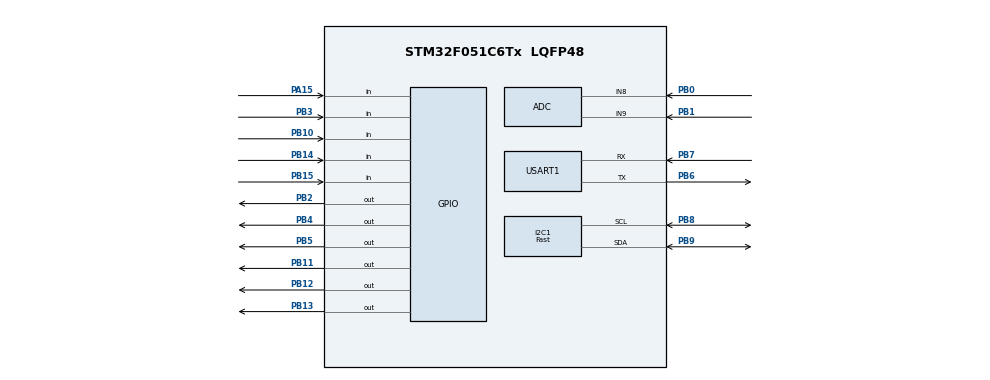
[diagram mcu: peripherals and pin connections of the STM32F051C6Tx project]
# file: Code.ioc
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ADC.ClockPrescaler=ADC_CLOCK_ASYNC_DIV1
ADC.DiscontinuousConvMode=ENABLE
ADC.EOCSelection=ADC_EOC_SEQ_CONV
ADC.LowPowerAutoWait=ENABLE
ADC.Overrun=ADC_OVR_DATA_OVERWRITTEN
I2C1.I2C_Fall_Time=50
I2C1.I2C_Rise_Time=50
I2C1.I2C_Speed_Mode=I2C_Fast
I2C1.Timing=0x0010020A
Mcu.Family=STM32F0
Mcu.Name=STM32F051C6Tx
Mcu.Package=LQFP48
NVIC.TIM6_DAC_IRQn=true\:0\:0\:false\:false\:true\:true\:true\:true
PA13.Mode=Serial_Wire
PA13.Signal=SYS_SWDIO
PA14.Mode=Serial_Wire
PA14.Signal=SYS_SWCLK
PA15.GPIO_PuPd=GPIO_PULLUP
PA15.Signal=GPIO_Input
PB0.Mode=IN8
PB0.Signal=ADC_IN8
PB1.Mode=IN9
PB1.Signal=ADC_IN9
PB10.Signal=GPIO_Input
PB11.Signal=GPIO_Output
PB12.Signal=GPIO_Output
PB13.Signal=GPIO_Output
PB14.Signal=GPIO_Input
PB15.GPIO_PuPd=GPIO_PULLUP
PB15.Signal=GPIO_Input
PB2.Signal=GPIO_Output
PB3.GPIO_PuPd=GPIO_PULLUP
PB3.Signal=GPIO_Input
PB4.Signal=GPIO_Output
PB5.Signal=GPIO_Output
PB6.Mode=Asynchronous
PB6.Signal=USART1_TX
PB7.Mode=Asynchronous
PB7.Signal=USART1_RX
PB8.Mode=I2C
PB8.Signal=I2C1_SCL
PB9.Mode=I2C
PB9.Signal=I2C1_SDA
PF0-OSC_IN.Mode=HSE-External-Oscillator
PF0-OSC_IN.Signal=RCC_OSC_IN
PF1-OSC_OUT.Mode=HSE-External-Oscillator
PF1-OSC_OUT.Signal=RCC_OSC_OUT
ProjectManager.HeapSize=0x200
ProjectManager.StackSize=0x400
ProjectManager.TargetToolchain=STM32CubeIDE
RCC.APB1Freq_Value=8000000
RCC.APB1TimFreq_Value=8000000
RCC.I2c1ClockSelection=RCC_I2C1CLKSOURCE_SYSCLK
RCC.PLLSourceVirtual=RCC_PLLSOURCE_HSE
RCC.RTCClockSelection=RCC_RTCCLKSOURCE_HSE_DIV32
RCC.SYSCLKSource=RCC_SYSCLKSOURCE_HSE
RCC.Usart1ClockSelection=RCC_USART1CLKSOURCE_SYSCLK
RTC.AsynchPrediv=124
RTC.Date=17
RTC.Format=RTC_FORMAT_BCD
RTC.Hours=16
RTC.Minutes=35
RTC.Month=RTC_MONTH_MAY
RTC.Seconds=35
RTC.SynchPrediv=1999
RTC.WeekDay=RTC_WEEKDAY_WEDNESDAY
RTC.Year=23
TIM6.Period=1000-1
TIM6.Prescaler=8000-1
USART1.Parity=PARITY_EVEN
USART1.VirtualMode-Asynchronous=VM_ASYNC
USART1.WordLength=WORDLENGTH_9B
VP_RTC_VS_RTC_Activate.Mode=RTC_Enabled
VP_RTC_VS_RTC_Calendar.Mode=RTC_Calendar
VP_TIM6_VS_ClockSourceINT.Mode=Enable_Timer
board=custom

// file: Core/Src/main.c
/* USER CODE BEGIN Header */
/**
  ******************************************************************************
  * @file           : main.c
  * @brief          : Main program body
  ******************************************************************************
  * @attention
  *
  * Copyright (c) 2023 STMicroelectronics.
  * All rights reserved.
  *
  * This software is licensed under terms that can be found in the LICENSE file
  * in the root directory of this software component.
  * If no LICENSE file comes with this software, it is provided AS-IS.
  *
  ******************************************************************************
  */
/* USER CODE END Header */
#include "main.h"

/* USER CODE BEGIN PD */
#define DATA_THERMISTOR (0)
#define DATA_POTENTIOMETER (1)
#define DATA_LIGHT_ALL (2)
#define DATA_LIGHT_IR (3)
#define DATA_TEMPERATURE (4)
#define DATA_HUMIDITY (5)

#define MODE_STANDBY (0)
#define MODE_RECORD_DATA (1)
#define MODE_READ_DATA (2)
#define MODE_LIVE_DATA (3)
#define MODE_SET_SAMPLE_TIME (4)

#define UTF_N (0x4E)
#define UTF_Y (0x59)
#define UTF_SPACE (0x20)
#define UTF_RETURN (0xD)

//*LIGHT SENSOR */
//Slave addresses
#define LIGHT_ADDR (0x29 << 1)

//Control
#define LIGHT_CONTR (0x80)
#define LIGHT_CONTR_ACTIVE (0x1)

#define LIGHT_MEAS_RATE (0x85)
#define LIGHT_MEAS_RATE_100ms_50ms (0x00)

#define LIGHT_INTERRUPT (0x8F)
#define LIGHT_INTERRUPT_INTERRUPT_ON_MEASURE (0b0001010)

#define LIGHT_STATUS (0x8C)
#define LIGHT_STATUS_NEW_DATA (0x04)

//Data
#define LIGHT_DATA_1_L (0x88)
#define LIGHT_DATA_1_H (0x89)
#define LIGHT_DATA_0_L (0x8A)
#define LIGHT_DATA_0_H (0x8B)
//*LIGHT SENSOR END */

//*TEMPERATURE HUMIDITY SENSOR*/
//Slave address
#define TH_ADDR (0x70 << 1)

//Control
#define TH_SLEEP (0xB098)
#define TH_WAKE (0x3517)
#define TH_READ_DATA (0x7866)

//Data
#define TH_DATA_TEMP_H (0)
#define TH_DATA_TEMP_L (1)
#define TH_DATA_HUM_H (3)
#define TH_DATA_HUM_L (4)

//*TEMPERATURE HUMIDITY SENSOR END*/

//*EEPROM*/
#define EEPROM_ADDR (0b1010000 << 1)
#define EEPROM_ENTRY_SIZE (18) //bytes

#define PAGE_YEAR (0)
#define PAGE_MONTH (1)
#define PAGE_DATE (2)
#define PAGE_HOUR (3)
#define PAGE_MINUTE (4)
#define PAGE_SECOND (5)
#define PAGE_THERMISTOR_H  (6)
#define PAGE_THERMISTOR_L  (7)
#define PAGE_POTENTIOMETER_H (8)
#define PAGE_POTENTIOMETER_L (9)
#define PAGE_LIGHT_ALL_H (10)
#define PAGE_LIGHT_ALL_L (11)
#define PAGE_LIGHT_IR_H (12)
#define PAGE_LIGHT_IR_L (13)
#define PAGE_TEMPERATURE_H (14)
#define PAGE_TEMPERATURE_L (15)
#define PAGE_HUMIDITY_H (16)
#define PAGE_HUMIDITY_L (17)
//#define PAGE_ ()
//*EEPROM END*/

/* USER CODE END PD */

ADC_HandleTypeDef hadc;

I2C_HandleTypeDef hi2c1;

RTC_HandleTypeDef hrtc;

TIM_HandleTypeDef htim6;

UART_HandleTypeDef huart1;

/* USER CODE BEGIN PV */
uint16_t data[6];
uint16_t eeprom_page_addr = 0x00;
uint8_t plg_dtcted = 0, mode = 0, second_elapsed = 0, sample_time = 0;

#define SAMPLE_TIMES_DIVISIONS (455)
const uint8_t SAMPLE_TIMES[] = {1, 2, 5, 10, 15, 30, 45, 60, 120};
const uint8_t UART_SAMPLE_TIME_SET[] = "Sample time set to ";
const uint8_t UART_SAMPLE_TIMES[][3] = {"  1", "  2", "  5", " 10", " 15", " 30", " 45", " 60", "120"};
const uint8_t UART_SECONDS[] = " s\r\n";

const uint8_t UART_MODE_START[][25] = {"Standby mode...\r\n", "Recording data mode...\r\r\n", "Reading data mode...\r\n", "Live data mode...\r\n", "Setting sample time...\r\n"};

const uint8_t UART_START_PACKET[] = "<Packet Start>\r\n";
const uint8_t UART_END_PACKET[] = "<Packet End>\r\r\n";
const uint8_t UART_SENSOR_PREFIX[][20] = {"Thermistor:\t", "Potentiometer:\t", "Light (Visible):\t", "Light (Infrared):\t", "Temperature:\t", "Humidity:\t\t"};

const uint8_t UART_NO_DATA[] = "There is no data stored to transmit\r\r\n";
const uint8_t UART_LOGON[] = "Device Logged On\r\r\n";
const uint8_t UART_TRANSMISSION_START[] = "Data transmission from EEPROM:\r\n";
const uint8_t UART_TABLE_HEADER[] = "CSV format: DD.MM.YY,HH.MM.SS,Thermistor,Potentiometer,Light(Visible),Light(Infrared),Temperature,Humidity\r\n";
const uint8_t UART_TABLE_LINE[] = "---------------------------------------------------\r\n";
const uint8_t UART_TRANSMISSION_END[] = "Data transmission complete\r\r\n";
const uint8_t UART_DATA_DELETE[] = "Would you like to erase the EEPROM? (Y/N)\r\n";

const uint8_t UART_DATA_ERASED[] = "\r\nData has been erased\r\r\n";
const uint8_t UART_DATA_NOT_ERASED[] = "\r\nData has not been erased\r\r\n";
const uint8_t UART_NO_REPLY_DETECTED[] = "\r\nNo reply detected, please reply with 'Y' or 'N'\r\n";
const uint8_t UART_INVALID_REPLY_DETECTED[] = "\r\nInvalid reply detected, please reply with 'Y' or 'N'\r\n";

const uint8_t UART_NEWLINE[] = "\r\n";
/* USER CODE END PV */

void SystemClock_Config(void);
static void MX_GPIO_Init(void);
static void MX_ADC_Init(void);
static void MX_I2C1_Init(void);
static void MX_RTC_Init(void);
static void MX_USART1_UART_Init(void);
static void MX_TIM6_Init(void);
/* USER CODE BEGIN PFP */
void changeMode(int MODE_CODE);
void setSampleTime(void);
void readData(void);
void storeData(void);
void retrieveData(void);
void liveData(void);
void transmitFromIndex(int index, int newline);
/* USER CODE END PFP */

int main(void)
{

  /* MCU Configuration--------------------------------------------------------*/

  /* Reset of all peripherals, Initializes the Flash interface and the Systick. */
  HAL_Init();

  /* Configure the system clock */
  SystemClock_Config();

  /* Initialize all configured peripherals */
  MX_GPIO_Init();
  MX_ADC_Init();
  MX_I2C1_Init();
  MX_RTC_Init();
  MX_USART1_UART_Init();
  MX_TIM6_Init();
  /* USER CODE BEGIN 2 */
//  HAL_Delay(10000);

  //setup light sensor
  uint8_t buf[1];
  HAL_Delay(200);
  HAL_I2C_IsDeviceReady(&hi2c1, LIGHT_ADDR, 2, 1000);
  buf[0] = LIGHT_MEAS_RATE_100ms_50ms;
  HAL_I2C_Mem_Write(&hi2c1, LIGHT_ADDR, LIGHT_MEAS_RATE, 1, buf, 1, 1000);
  HAL_Delay(10);

  //get EEPROM address to write to
  HAL_I2C_IsDeviceReady(&hi2c1, EEPROM_ADDR, 2, 1000);
  HAL_Delay(10);
  HAL_I2C_Mem_Read(&hi2c1, EEPROM_ADDR, 0x0000, 2, buf, 1, 1000);
  eeprom_page_addr = buf[0];
  HAL_Delay(10);

  HAL_TIM_Base_Start_IT(&htim6);
  /* USER CODE END 2 */

  /* Infinite loop */
  /* USER CODE BEGIN WHILE */
  uint8_t SW2_down = 0x00, SW3_down = 0x00, SW4_down = 0x00;
  while (1)
  {
	  //handle plug detect
	  if ((GPIOB->IDR & GPIO_IDR_14) == GPIO_IDR_14) {
		  if (!plg_dtcted) {
			  HAL_Delay(5000);
			  HAL_UART_Transmit(&huart1, UART_LOGON, sizeof(UART_LOGON), 10);
			  plg_dtcted = 1;
		  }
	  } else if (plg_dtcted) plg_dtcted = 0;

	  //select mode
	  if ((GPIOB->IDR & GPIO_IDR_3) == 0b0) {
		  //SW2 pressed
		  if (!SW2_down) {
			  SW2_down = 0b1;
			  if (mode == MODE_SET_SAMPLE_TIME) {
				  changeMode(MODE_RECORD_DATA);
			  } else {
				  sample_time = 0;
				  changeMode(MODE_SET_SAMPLE_TIME);
			  }
		  }
	  }	else SW2_down = 0b0;

	  if ((GPIOA->IDR & GPIO_IDR_15) == 0b0){
		  //SW3 pressed
		  if (!SW3_down) {
			  SW3_down = 0b1;
			  changeMode(MODE_READ_DATA);
		  }
	  }	else SW3_down = 0b0;

	  if ((GPIOB->IDR & GPIO_IDR_15) == 0b0){
		  //SW4 pressed
		  if (!SW4_down) {
			  SW4_down = 0b1;
		  changeMode(MODE_LIVE_DATA);
		  }
	  } else SW4_down = 0b0;

    /* USER CODE END WHILE */

  }
}

void SystemClock_Config(void)
{
  RCC_OscInitTypeDef RCC_OscInitStruct = {0};
  RCC_ClkInitTypeDef RCC_ClkInitStruct = {0};
  RCC_PeriphCLKInitTypeDef PeriphClkInit = {0};

  /** Initializes the RCC Oscillators according to the specified parameters
  * in the RCC_OscInitTypeDef structure.
  */
  RCC_OscInitStruct.OscillatorType = RCC_OSCILLATORTYPE_HSI14|RCC_OSCILLATORTYPE_HSE;
  RCC_OscInitStruct.HSEState = RCC_HSE_ON;
  RCC_OscInitStruct.HSI14State = RCC_HSI14_ON;
  RCC_OscInitStruct.HSI14CalibrationValue = 16;
  RCC_OscInitStruct.PLL.PLLState = RCC_PLL_NONE;
  if (HAL_RCC_OscConfig(&RCC_OscInitStruct) != HAL_OK)
  {
    Error_Handler();
  }

  /** Initializes the CPU, AHB and APB buses clocks
  */
  RCC_ClkInitStruct.ClockType = RCC_CLOCKTYPE_HCLK|RCC_CLOCKTYPE_SYSCLK
                              |RCC_CLOCKTYPE_PCLK1;
  RCC_ClkInitStruct.SYSCLKSource = RCC_SYSCLKSOURCE_HSE;
  RCC_ClkInitStruct.AHBCLKDivider = RCC_SYSCLK_DIV1;
  RCC_ClkInitStruct.APB1CLKDivider = RCC_HCLK_DIV1;

  if (HAL_RCC_ClockConfig(&RCC_ClkInitStruct, FLASH_LATENCY_0) != HAL_OK)
  {
    Error_Handler();
  }
  PeriphClkInit.PeriphClockSelection = RCC_PERIPHCLK_USART1|RCC_PERIPHCLK_I2C1
                              |RCC_PERIPHCLK_RTC;
  PeriphClkInit.Usart1ClockSelection = RCC_USART1CLKSOURCE_SYSCLK;
  PeriphClkInit.I2c1ClockSelection = RCC_I2C1CLKSOURCE_SYSCLK;
  PeriphClkInit.RTCClockSelection = RCC_RTCCLKSOURCE_HSE_DIV32;
  if (HAL_RCCEx_PeriphCLKConfig(&PeriphClkInit) != HAL_OK)
  {
    Error_Handler();
  }
}

static void MX_ADC_Init(void)
{

  ADC_ChannelConfTypeDef sConfig = {0};

  /** Configure the global features of the ADC (Clock, Resolution, Data Alignment and number of conversion)
  */
  hadc.Instance = ADC1;
  hadc.Init.ClockPrescaler = ADC_CLOCK_ASYNC_DIV1;
  hadc.Init.Resolution = ADC_RESOLUTION_12B;
  hadc.Init.DataAlign = ADC_DATAALIGN_RIGHT;
  hadc.Init.ScanConvMode = ADC_SCAN_DIRECTION_FORWARD;
  hadc.Init.EOCSelection = ADC_EOC_SEQ_CONV;
  hadc.Init.LowPowerAutoWait = ENABLE;
  hadc.Init.LowPowerAutoPowerOff = DISABLE;
  hadc.Init.ContinuousConvMode = DISABLE;
  hadc.Init.DiscontinuousConvMode = ENABLE;
  hadc.Init.ExternalTrigConv = ADC_SOFTWARE_START;
  hadc.Init.ExternalTrigConvEdge = ADC_EXTERNALTRIGCONVEDGE_NONE;
  hadc.Init.DMAContinuousRequests = DISABLE;
  hadc.Init.Overrun = ADC_OVR_DATA_OVERWRITTEN;
  if (HAL_ADC_Init(&hadc) != HAL_OK)
  {
    Error_Handler();
  }

  /** Configure for the selected ADC regular channel to be converted.
  */
  sConfig.Channel = ADC_CHANNEL_8;
  sConfig.Rank = ADC_RANK_CHANNEL_NUMBER;
  sConfig.SamplingTime = ADC_SAMPLETIME_1CYCLE_5;
  if (HAL_ADC_ConfigChannel(&hadc, &sConfig) != HAL_OK)
  {
    Error_Handler();
  }

  /** Configure for the selected ADC regular channel to be converted.
  */
  sConfig.Channel = ADC_CHANNEL_9;
  if (HAL_ADC_ConfigChannel(&hadc, &sConfig) != HAL_OK)
  {
    Error_Handler();
  }

}

static void MX_I2C1_Init(void)
{

  hi2c1.Instance = I2C1;
  hi2c1.Init.Timing = 0x0010020A;
  hi2c1.Init.OwnAddress1 = 0;
  hi2c1.Init.AddressingMode = I2C_ADDRESSINGMODE_7BIT;
  hi2c1.Init.DualAddressMode = I2C_DUALADDRESS_DISABLE;
  hi2c1.Init.OwnAddress2 = 0;
  hi2c1.Init.OwnAddress2Masks = I2C_OA2_NOMASK;
  hi2c1.Init.GeneralCallMode = I2C_GENERALCALL_DISABLE;
  hi2c1.Init.NoStretchMode = I2C_NOSTRETCH_DISABLE;
  if (HAL_I2C_Init(&hi2c1) != HAL_OK)
  {
    Error_Handler();
  }

  /** Configure Analogue filter
  */
  if (HAL_I2CEx_ConfigAnalogFilter(&hi2c1, I2C_ANALOGFILTER_ENABLE) != HAL_OK)
  {
    Error_Handler();
  }

  /** Configure Digital filter
  */
  if (HAL_I2CEx_ConfigDigitalFilter(&hi2c1, 0) != HAL_OK)
  {
    Error_Handler();
  }

}

static void MX_RTC_Init(void)
{

  RTC_TimeTypeDef sTime = {0};
  RTC_DateTypeDef sDate = {0};

  /** Initialize RTC Only
  */
  hrtc.Instance = RTC;
  hrtc.Init.HourFormat = RTC_HOURFORMAT_24;
  hrtc.Init.AsynchPrediv = 124;
  hrtc.Init.SynchPrediv = 1999;
  hrtc.Init.OutPut = RTC_OUTPUT_DISABLE;
  hrtc.Init.OutPutPolarity = RTC_OUTPUT_POLARITY_HIGH;
  hrtc.Init.OutPutType = RTC_OUTPUT_TYPE_OPENDRAIN;
  if (HAL_RTC_Init(&hrtc) != HAL_OK)
  {
    Error_Handler();
  }

  /** Initialize RTC and set the Time and Date
  */
  sTime.Hours = 0x16;
  sTime.Minutes = 0x35;
  sTime.Seconds = 0x35;
  sTime.DayLightSaving = RTC_DAYLIGHTSAVING_NONE;
  sTime.StoreOperation = RTC_STOREOPERATION_RESET;
  if (HAL_RTC_SetTime(&hrtc, &sTime, RTC_FORMAT_BCD) != HAL_OK)
  {
    Error_Handler();
  }
  sDate.WeekDay = RTC_WEEKDAY_WEDNESDAY;
  sDate.Month = RTC_MONTH_MAY;
  sDate.Date = 0x17;
  sDate.Year = 0x23;

  if (HAL_RTC_SetDate(&hrtc, &sDate, RTC_FORMAT_BCD) != HAL_OK)
  {
    Error_Handler();
  }

}

static void MX_TIM6_Init(void)
{

  TIM_MasterConfigTypeDef sMasterConfig = {0};

  htim6.Instance = TIM6;
  htim6.Init.Prescaler = 8000-1;
  htim6.Init.CounterMode = TIM_COUNTERMODE_UP;
  htim6.Init.Period = 1000-1;
  htim6.Init.AutoReloadPreload = TIM_AUTORELOAD_PRELOAD_DISABLE;
  if (HAL_TIM_Base_Init(&htim6) != HAL_OK)
  {
    Error_Handler();
  }
  sMasterConfig.MasterOutputTrigger = TIM_TRGO_RESET;
  sMasterConfig.MasterSlaveMode = TIM_MASTERSLAVEMODE_DISABLE;
  if (HAL_TIMEx_MasterConfigSynchronization(&htim6, &sMasterConfig) != HAL_OK)
  {
    Error_Handler();
  }

}

static void MX_USART1_UART_Init(void)
{

  huart1.Instance = USART1;
  huart1.Init.BaudRate = 38400;
  huart1.Init.WordLength = UART_WORDLENGTH_9B;
  huart1.Init.StopBits = UART_STOPBITS_1;
  huart1.Init.Parity = UART_PARITY_EVEN;
  huart1.Init.Mode = UART_MODE_TX_RX;
  huart1.Init.HwFlowCtl = UART_HWCONTROL_NONE;
  huart1.Init.OverSampling = UART_OVERSAMPLING_16;
  huart1.Init.OneBitSampling = UART_ONE_BIT_SAMPLE_DISABLE;
  huart1.AdvancedInit.AdvFeatureInit = UART_ADVFEATURE_NO_INIT;
  if (HAL_UART_Init(&huart1) != HAL_OK)
  {
    Error_Handler();
  }

}

static void MX_GPIO_Init(void)
{
  GPIO_InitTypeDef GPIO_InitStruct = {0};

  /* GPIO Ports Clock Enable */
  __HAL_RCC_GPIOC_CLK_ENABLE();
  __HAL_RCC_GPIOF_CLK_ENABLE();
  __HAL_RCC_GPIOA_CLK_ENABLE();
  __HAL_RCC_GPIOB_CLK_ENABLE();

  /*Configure GPIO pin Output Level */
  HAL_GPIO_WritePin(GPIOB, GPIO_PIN_2|GPIO_PIN_11|GPIO_PIN_12|GPIO_PIN_13
                          |GPIO_PIN_4|GPIO_PIN_5, GPIO_PIN_RESET);

  /*Configure GPIO pins : PC13 PC14 PC15 */
  GPIO_InitStruct.Pin = GPIO_PIN_13|GPIO_PIN_14|GPIO_PIN_15;
  GPIO_InitStruct.Mode = GPIO_MODE_ANALOG;
  GPIO_InitStruct.Pull = GPIO_NOPULL;
  HAL_GPIO_Init(GPIOC, &GPIO_InitStruct);

  /*Configure GPIO pins : PA0 PA1 PA2 PA3
                           PA4 PA5 PA6 PA7
                           PA8 PA9 PA10 PA11
                           PA12 */
  GPIO_InitStruct.Pin = GPIO_PIN_0|GPIO_PIN_1|GPIO_PIN_2|GPIO_PIN_3
                          |GPIO_PIN_4|GPIO_PIN_5|GPIO_PIN_6|GPIO_PIN_7
                          |GPIO_PIN_8|GPIO_PIN_9|GPIO_PIN_10|GPIO_PIN_11
                          |GPIO_PIN_12;
  GPIO_InitStruct.Mode = GPIO_MODE_ANALOG;
  GPIO_InitStruct.Pull = GPIO_NOPULL;
  HAL_GPIO_Init(GPIOA, &GPIO_InitStruct);

  /*Configure GPIO pins : PB2 PB11 PB12 PB13
                           PB4 PB5 */
  GPIO_InitStruct.Pin = GPIO_PIN_2|GPIO_PIN_11|GPIO_PIN_12|GPIO_PIN_13
                          |GPIO_PIN_4|GPIO_PIN_5;
  GPIO_InitStruct.Mode = GPIO_MODE_OUTPUT_PP;
  GPIO_InitStruct.Pull = GPIO_NOPULL;
  GPIO_InitStruct.Speed = GPIO_SPEED_FREQ_LOW;
  HAL_GPIO_Init(GPIOB, &GPIO_InitStruct);

  /*Configure GPIO pins : PB10 PB14 */
  GPIO_InitStruct.Pin = GPIO_PIN_10|GPIO_PIN_14;
  GPIO_InitStruct.Mode = GPIO_MODE_INPUT;
  GPIO_InitStruct.Pull = GPIO_NOPULL;
  HAL_GPIO_Init(GPIOB, &GPIO_InitStruct);

  /*Configure GPIO pins : PB15 PB3 */
  GPIO_InitStruct.Pin = GPIO_PIN_15|GPIO_PIN_3;
  GPIO_InitStruct.Mode = GPIO_MODE_INPUT;
  GPIO_InitStruct.Pull = GPIO_PULLUP;
  HAL_GPIO_Init(GPIOB, &GPIO_InitStruct);

  /*Configure GPIO pins : PF6 PF7 */
  GPIO_InitStruct.Pin = GPIO_PIN_6|GPIO_PIN_7;
  GPIO_InitStruct.Mode = GPIO_MODE_ANALOG;
  GPIO_InitStruct.Pull = GPIO_NOPULL;
  HAL_GPIO_Init(GPIOF, &GPIO_InitStruct);

  /*Configure GPIO pin : PA15 */
  GPIO_InitStruct.Pin = GPIO_PIN_15;
  GPIO_InitStruct.Mode = GPIO_MODE_INPUT;
  GPIO_InitStruct.Pull = GPIO_PULLUP;
  HAL_GPIO_Init(GPIOA, &GPIO_InitStruct);

}

/* USER CODE BEGIN 4 */
void changeMode(int MODE_CODE) {
	mode = MODE_CODE;
	HAL_UART_Transmit(&huart1, UART_MODE_START[MODE_CODE], sizeof(UART_MODE_START[MODE_CODE]), 10);

	if (MODE_CODE == MODE_SET_SAMPLE_TIME) MODE_CODE = MODE_LIVE_DATA;
	GPIOB->ODR &= ~(0b11 << 12); //turn off LEDs
	GPIOB->ODR |= (mode << 12);
}

void HAL_TIM_PeriodElapsedCallback(TIM_HandleTypeDef *htim)
{
  // Check which version of the timer triggered this callback and toggle LED
  if (htim == &htim6)
  {
	  second_elapsed++;

	  switch (mode) {
	  case MODE_RECORD_DATA:
		  if (second_elapsed < sample_time) break;
		  readData();
		  storeData();
		  second_elapsed = 0;
		  break;
	  case MODE_STANDBY:
		  if (second_elapsed < 1) break;
		  HAL_GPIO_TogglePin(GPIOB, GPIO_PIN_12);
		  HAL_GPIO_TogglePin(GPIOB, GPIO_PIN_13);
		  second_elapsed = 0;
		  break;
	  case MODE_SET_SAMPLE_TIME:
		  readData();
		  setSampleTime();
		  break;
	  case MODE_READ_DATA:
		  retrieveData();
		  changeMode(MODE_STANDBY);
		  break;
	  case MODE_LIVE_DATA:
		  if (second_elapsed < 2) break;
		  readData();
		  liveData();
		  second_elapsed = 0;
		  break;
	  }
  }
}

void readData(void) {
	//check calibration, if not calibrate
	ADC1->CR |= ADC_CR_ADCAL;
	while ((ADC1->CR & ADC_CR_ADCAL) == ADC_CR_ADCAL);

	//check if ADC is RDY
	if ((ADC1->ISR & ADC_ISR_ADRDY) == 0b0) {
		ADC1->CR |= ADC_CR_ADEN;
		while ((ADC1->ISR & ADC_ISR_ADRDY) == 0b0);
	}

	//read thermistor data 12-bit res
	ADC1->CR |= ADC_CR_ADSTART;
	while ((ADC1->ISR & ADC_ISR_EOC) == 0b0);
	data[DATA_THERMISTOR] = ADC1->DR;

	//read potentiometer data 12-bit res
	ADC1->CR |= ADC_CR_ADSTART;
	while ((ADC1->ISR & ADC_ISR_EOC) == 0b0);
	data[DATA_POTENTIOMETER] = ADC1->DR;
	ADC1->ISR &= ~(ADC_ISR_EOS);

	//stop ADC
	ADC1->CR |= ADC_CR_ADSTP;
	while ((ADC1->CR & ADC_CR_ADSTP) == ADC_CR_ADSTP);
	//disable ADC
	ADC1->CR |= ADC_CR_ADDIS;
	while ((ADC1->CR & ADC_CR_ADDIS) == ADC_CR_ADDIS);

	//I2C data retrieval
	//LIGHT SENSOR
	uint8_t buf[6];
	HAL_StatusTypeDef ref;

	ref = HAL_I2C_IsDeviceReady(&hi2c1, LIGHT_ADDR, 2, 1000);

	buf[0] = LIGHT_CONTR_ACTIVE;
	ref = HAL_I2C_Mem_Write(&hi2c1, LIGHT_ADDR, LIGHT_CONTR, 1, buf, 1, 1000);

	//wait until new_data is high
	ref = HAL_I2C_Mem_Read(&hi2c1, LIGHT_ADDR, LIGHT_STATUS, 1, buf, 1, 1000);
	while ((buf[0] & LIGHT_STATUS_NEW_DATA) == 0b0) {
		ref = HAL_I2C_Mem_Read(&hi2c1, LIGHT_ADDR, LIGHT_STATUS, 1, buf, 1, 1000);
	}

	//read data
	ref = HAL_I2C_Mem_Read(&hi2c1, LIGHT_ADDR, LIGHT_DATA_1_L, 1, buf, 1, 1000);
	data[DATA_LIGHT_IR] = buf[0];
	ref = HAL_I2C_Mem_Read(&hi2c1, LIGHT_ADDR, LIGHT_DATA_1_H, 1, buf, 1, 1000);
	data[DATA_LIGHT_IR] |= (buf[0] << 8);
	ref = HAL_I2C_Mem_Read(&hi2c1, LIGHT_ADDR, LIGHT_DATA_0_L, 1, buf, 1, 1000);
	data[DATA_LIGHT_ALL] = buf[0];
	ref = HAL_I2C_Mem_Read(&hi2c1, LIGHT_ADDR, LIGHT_DATA_0_H, 1, buf, 1, 1000);
	data[DATA_LIGHT_ALL] |= (buf[0] << 8);

	buf[0] = 0x00;
	ref = HAL_I2C_Mem_Write(&hi2c1, LIGHT_ADDR, LIGHT_CONTR, 1, buf, 1, 1000);

	//TEMPERATURE HUMIDITY
	ref = HAL_I2C_IsDeviceReady(&hi2c1, TH_ADDR, 2, 1000);

	buf[0] = (TH_WAKE >> 8);
	buf[1] = (TH_WAKE);
	ref = HAL_I2C_Master_Transmit(&hi2c1, TH_ADDR, buf, 2, 1000);

	buf[0] = (TH_READ_DATA >> 8);
	buf[1] = (TH_READ_DATA);
	ref = HAL_I2C_Master_Transmit(&hi2c1, TH_ADDR, buf, 2, 1000);

	//read data
	buf[0] = 0x00; buf[1] = 0x00; buf[2] = 0x00; buf[3] = 0x00; buf[4] = 0x00; buf[5] = 0x00;
	while (HAL_I2C_Master_Receive(&hi2c1, TH_ADDR, buf, 6, 1000) != HAL_OK);
	data[DATA_TEMPERATURE] = ((buf[TH_DATA_TEMP_H] << 8) | buf[TH_DATA_TEMP_L]);
	data[DATA_HUMIDITY] = ((buf[TH_DATA_HUM_H] << 8) | buf[TH_DATA_HUM_L]);

	buf[0] = (TH_SLEEP >> 8);
	buf[1] = (TH_SLEEP);
	ref = HAL_I2C_Master_Transmit(&hi2c1, TH_ADDR, buf, 2, 1000);

}

void setSampleTime(void) {
	uint8_t sample_time_index = data[DATA_POTENTIOMETER] / SAMPLE_TIMES_DIVISIONS;
	if (sample_time != SAMPLE_TIMES[sample_time_index]) {
		sample_time = SAMPLE_TIMES[sample_time_index];

		HAL_UART_Transmit(&huart1, UART_SAMPLE_TIME_SET, sizeof(UART_SAMPLE_TIME_SET), 10);
		HAL_UART_Transmit(&huart1, UART_SAMPLE_TIMES[sample_time_index], sizeof(UART_SAMPLE_TIMES[sample_time_index]), 10);
		HAL_UART_Transmit(&huart1, UART_SECONDS, sizeof(UART_SECONDS), 10);
	}
}

void storeData(void) {
	uint8_t page[EEPROM_ENTRY_SIZE];

	RTC_TimeTypeDef sTime;
	RTC_DateTypeDef sDate;
	HAL_RTC_GetTime(&hrtc, &sTime, RTC_FORMAT_BIN);
	HAL_RTC_GetDate(&hrtc, &sDate, RTC_FORMAT_BIN);

	//prepare year.month.date hour.minute.second
	page[PAGE_YEAR] = sDate.Year; page[PAGE_MONTH] = sDate.Month; page[PAGE_DATE] = sDate.Date;
	page[PAGE_HOUR] = sTime.Hours; page[PAGE_MINUTE] = sTime.Minutes; page[PAGE_SECOND] = sTime.Seconds;

	page[PAGE_THERMISTOR_H] = (data[DATA_THERMISTOR] >> 8);
	page[PAGE_THERMISTOR_L] = (data[DATA_THERMISTOR]);

	page[PAGE_POTENTIOMETER_H] = (data[DATA_POTENTIOMETER] >> 8);
	page[PAGE_POTENTIOMETER_L] = (data[DATA_POTENTIOMETER]);

	page[PAGE_LIGHT_ALL_H] = (data[DATA_LIGHT_ALL] >> 8);
	page[PAGE_LIGHT_ALL_L] = (data[DATA_LIGHT_ALL]);

	page[PAGE_LIGHT_IR_H] = (data[DATA_LIGHT_IR] >> 8);
	page[PAGE_LIGHT_IR_L] = (data[DATA_LIGHT_IR]);

	page[PAGE_TEMPERATURE_H] = (data[DATA_TEMPERATURE] >> 8);
	page[PAGE_TEMPERATURE_L] = (data[DATA_TEMPERATURE]);

	page[PAGE_HUMIDITY_H] = (data[DATA_HUMIDITY] >> 8);
	page[PAGE_HUMIDITY_L] = (data[DATA_HUMIDITY]);

	//write data
	HAL_I2C_Mem_Write(&hi2c1, EEPROM_ADDR, (eeprom_page_addr << 6), 2, page, EEPROM_ENTRY_SIZE, 1000);
	eeprom_page_addr++;
	//write page address until acknowledged
	page[0] = eeprom_page_addr;
	while (HAL_I2C_Mem_Write(&hi2c1, EEPROM_ADDR, 0x0000, 2, page, 1, 1000) != HAL_OK);
}

void retrieveData(void) {
	if (eeprom_page_addr == 0x01) {
		HAL_UART_Transmit(&huart1, UART_NO_DATA, sizeof(UART_NO_DATA), 10);
		return;
	}

	HAL_UART_Transmit(&huart1, UART_TRANSMISSION_START, sizeof(UART_TRANSMISSION_START), 10);
	HAL_UART_Transmit(&huart1, UART_TABLE_HEADER, sizeof(UART_TABLE_HEADER), 10);
	HAL_UART_Transmit(&huart1, UART_TABLE_LINE, sizeof(UART_TABLE_LINE), 10);

	uint8_t page[EEPROM_ENTRY_SIZE];
	uint8_t date[9]; uint8_t time[9];

	for (uint16_t addr = 0x01; addr < eeprom_page_addr; addr++) {
		HAL_I2C_Mem_Read(&hi2c1, EEPROM_ADDR, (addr << 6), 2, page, EEPROM_ENTRY_SIZE, 1000);

		sprintf(date,"%02d.%02d.%02d", page[PAGE_DATE], page[PAGE_MONTH], page[PAGE_YEAR]);
		sprintf(time,",%02d.%02d.%02d", page[PAGE_HOUR], page[PAGE_MINUTE], page[PAGE_SECOND]);

		HAL_UART_Transmit(&huart1, (uint8_t *)date, sizeof(date), 1000);
		HAL_UART_Transmit(&huart1, (uint8_t *)time, sizeof(time), 1000);

		data[DATA_THERMISTOR] = ((page[PAGE_THERMISTOR_H] << 8) | page[PAGE_THERMISTOR_L]);
		data[DATA_POTENTIOMETER] = ((page[PAGE_POTENTIOMETER_H] << 8) | page[PAGE_POTENTIOMETER_L]);
		data[DATA_LIGHT_ALL] = ((page[PAGE_LIGHT_ALL_H] << 8) | page[PAGE_LIGHT_ALL_L]);
		data[DATA_LIGHT_IR] = ((page[PAGE_LIGHT_IR_H] << 8) | page[PAGE_LIGHT_IR_L]);
		data[DATA_TEMPERATURE] = ((page[PAGE_TEMPERATURE_H] << 8) | page[PAGE_TEMPERATURE_L]);
		data[DATA_HUMIDITY] = ((page[PAGE_HUMIDITY_H] << 8) | page[PAGE_HUMIDITY_L]);

		transmitFromIndex(DATA_THERMISTOR, 0);
		transmitFromIndex(DATA_POTENTIOMETER, 0);
		transmitFromIndex(DATA_LIGHT_ALL, 0);
		transmitFromIndex(DATA_LIGHT_IR, 0);
		transmitFromIndex(DATA_TEMPERATURE, 0);
		transmitFromIndex(DATA_HUMIDITY, 0);

		HAL_UART_Transmit(&huart1, UART_NEWLINE, sizeof(UART_NEWLINE), 1000);
	}

	HAL_UART_Transmit(&huart1, UART_TABLE_LINE, sizeof(UART_TABLE_LINE), 10);
	HAL_UART_Transmit(&huart1, UART_TRANSMISSION_END, sizeof(UART_TRANSMISSION_END), 10);
	HAL_UART_Transmit(&huart1, UART_DATA_DELETE, sizeof(UART_DATA_DELETE), 10);

	uint8_t buf[1];
	while (1) {
		buf[0] = UTF_SPACE;
		HAL_UART_Receive(&huart1, buf, 1, 20000);
		if (buf[0] == UTF_Y) {
			//'erase' memory (start at 0x00 again)
			buf[0] = 0x01; eeprom_page_addr = 0x01;
			HAL_I2C_Mem_Write(&hi2c1, EEPROM_ADDR, 0x0000, 2, buf, 1, 1000);
			HAL_UART_Transmit(&huart1, UART_DATA_ERASED, sizeof(UART_DATA_ERASED), 10);
			return;
		}
		else if (buf[0] == UTF_N) {
			HAL_UART_Transmit(&huart1, UART_DATA_NOT_ERASED, sizeof(UART_DATA_NOT_ERASED), 10);
			return;
		}
		else if (buf[0] == UTF_SPACE) {
			HAL_UART_Transmit(&huart1, UART_NO_REPLY_DETECTED, sizeof(UART_NO_REPLY_DETECTED), 10);
		}
		else HAL_UART_Transmit(&huart1, UART_INVALID_REPLY_DETECTED, sizeof(UART_INVALID_REPLY_DETECTED), 10);
	}
}

void liveData(void) {
	HAL_UART_Transmit(&huart1, UART_START_PACKET, sizeof(UART_START_PACKET), 10);

	RTC_TimeTypeDef sTime;
	RTC_DateTypeDef sDate;
	HAL_RTC_GetTime(&hrtc, &sTime, RTC_FORMAT_BIN);
	HAL_RTC_GetDate(&hrtc, &sDate, RTC_FORMAT_BIN);

	uint8_t date[16]; uint8_t time[16];

	sprintf(date," Date: %02d.%02d.%02d\t",sDate.Date,sDate.Month,sDate.Year);
	sprintf(time,"Time: %02d.%02d.%02d\r\n",sTime.Hours,sTime.Minutes,sTime.Seconds);

	HAL_UART_Transmit(&huart1, (uint8_t *)date, sizeof(date), 10);
	HAL_UART_Transmit(&huart1, (uint8_t *)time, sizeof(time), 10);

	transmitFromIndex(DATA_THERMISTOR, 1);
	transmitFromIndex(DATA_POTENTIOMETER, 1);
	transmitFromIndex(DATA_LIGHT_ALL, 1);
	transmitFromIndex(DATA_LIGHT_IR, 1);
	transmitFromIndex(DATA_TEMPERATURE, 1);
	transmitFromIndex(DATA_HUMIDITY, 1);

	HAL_UART_Transmit(&huart1, UART_END_PACKET, sizeof(UART_END_PACKET), 10);
}

void transmitFromIndex(int index, int newline) {
	uint16_t data_cpy = data[index];
	uint8_t UART_data[6] = "      ", data_len;
	if (newline)  {
		HAL_UART_Transmit(&huart1, UART_SENSOR_PREFIX[index], sizeof(UART_SENSOR_PREFIX[index]), 10);
		sprintf(UART_data, "%01d\r\n", data_cpy);
	}
	else sprintf(UART_data, ",%01d", data_cpy);

	//get exact length of data then transmit
	for (data_len = 0; data_len < 6; data_len++) if (UART_data[data_len] == '\0') break;
	HAL_UART_Transmit(&huart1, (uint8_t *)UART_data, data_len + 1, 10);
}

/* USER CODE END 4 */

void Error_Handler(void)
{
  __disable_irq();
  while (1)
  {
  }
}
